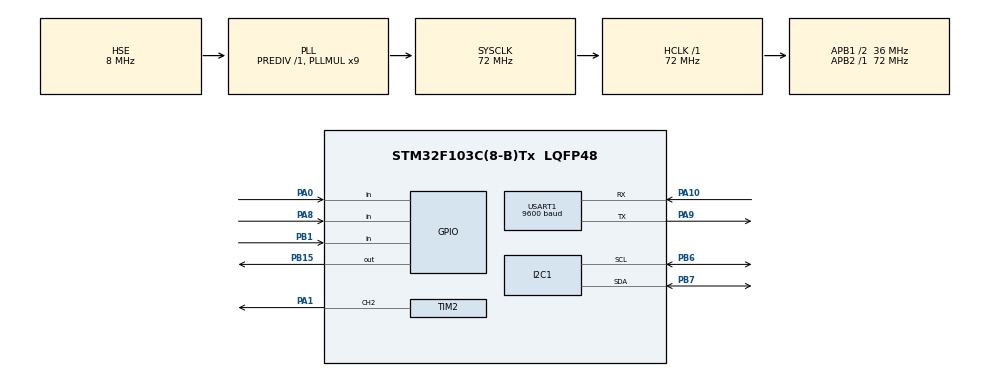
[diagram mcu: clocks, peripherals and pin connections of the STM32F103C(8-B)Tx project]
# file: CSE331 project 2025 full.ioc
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I2C1.I2C_Mode=I2C_Fast
Mcu.Family=STM32F1
Mcu.Name=STM32F103C(8-B)Tx
Mcu.Package=LQFP48
NVIC.PriorityGroup=NVIC_PRIORITYGROUP_4
PA0-WKUP.Signal=GPIO_Input
PA1.Signal=S_TIM2_CH2
PA10.Mode=Asynchronous
PA10.Signal=USART1_RX
PA13.Mode=Serial_Wire
PA13.Signal=SYS_JTMS-SWDIO
PA14.Mode=Serial_Wire
PA14.Signal=SYS_JTCK-SWCLK
PA8.Signal=GPIO_Input
PA9.Mode=Asynchronous
PA9.Signal=USART1_TX
PB1.Signal=GPIO_Input
PB15.Signal=GPIO_Output
PB6.Mode=I2C
PB6.Signal=I2C1_SCL
PB7.Mode=I2C
PB7.Signal=I2C1_SDA
PD0-OSC_IN.Mode=HSE-External-Oscillator
PD0-OSC_IN.Signal=RCC_OSC_IN
PD1-OSC_OUT.Mode=HSE-External-Oscillator
PD1-OSC_OUT.Signal=RCC_OSC_OUT
ProjectManager.HeapSize=0x200
ProjectManager.StackSize=0x400
ProjectManager.TargetToolchain=STM32CubeIDE
RCC.AHBFreq_Value=72000000
RCC.APB1CLKDivider=RCC_HCLK_DIV2
RCC.APB1Freq_Value=36000000
RCC.APB1TimFreq_Value=72000000
RCC.APB2Freq_Value=72000000
RCC.APB2TimFreq_Value=72000000
RCC.HCLKFreq_Value=72000000
RCC.PLLMUL=RCC_PLL_MUL9
RCC.PLLSourceVirtual=RCC_PLLSOURCE_HSE
RCC.SYSCLKFreq_VALUE=72000000
RCC.SYSCLKSource=RCC_SYSCLKSOURCE_PLLCLK
RCC.USBFreq_Value=72000000
SH.S_TIM2_CH2.0=TIM2_CH2,PWM Generation2 CH2
TIM1.Prescaler=71
TIM2.Channel-PWM\ Generation2\ CH2=TIM_CHANNEL_2
TIM2.Period=9999
TIM2.Prescaler=15
USART1.BaudRate=9600
USART1.VirtualMode=VM_ASYNC
VP_TIM1_VS_ClockSourceINT.Mode=Internal
VP_TIM2_VS_ClockSourceINT.Mode=Internal
board=custom

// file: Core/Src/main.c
/* USER CODE BEGIN Header */
/**
  ******************************************************************************
  * @file           : main.c
  * @brief          : Main program body
  ******************************************************************************
  * @attention
  *
  * Copyright (c) 2025 STMicroelectronics.
  * All rights reserved.
  *
  * This software is licensed under terms that can be found in the LICENSE file
  * in the root directory of this software component.
  * If no LICENSE file comes with this software, it is provided AS-IS.
  *
  ******************************************************************************
  */
/* USER CODE END Header */
#include "main.h"

/* USER CODE BEGIN Includes */
#include "fonts.h"
#include "ssd1306.h"
#include "stdio.h"
/* USER CODE END Includes */

I2C_HandleTypeDef hi2c1;

TIM_HandleTypeDef htim1;
TIM_HandleTypeDef htim2;

UART_HandleTypeDef huart1;

/* USER CODE BEGIN PV */
#define TRIG_PIN GPIO_PIN_15
#define TRIG_PORT GPIOB
#define ECHO_PIN GPIO_PIN_8
#define ECHO_PORT GPIOA
//uint16_t pulse;
//uint8_t angle
uint32_t pMillis;
uint32_t Value1 = 0;
uint32_t Value2 = 0;
uint16_t Distance  = 0;  // cm
char strCopy[15];
uint16_t readValue;
/* USER CODE END PV */

void SystemClock_Config(void);
static void MX_GPIO_Init(void);
static void MX_I2C1_Init(void);
static void MX_TIM1_Init(void);
static void MX_TIM2_Init(void);
static void MX_USART1_UART_Init(void);

/* USER CODE BEGIN 0 */
uint8_t charToTransmit[1];
#define DHT11_PORT GPIOB
#define DHT11_PIN GPIO_PIN_12
uint8_t RHI, RHD, TCI, TCD, SUM;
uint32_t pMillis, cMillis;
float tCelsius = 0;
float tFahrenheit = 0;
float RH = 0;
int row=0;
int col=0;
uint8_t TFI = 0;
uint8_t TFD = 0;
char strCopy1[40];
char strCopy2[40];

void microDelay (uint16_t delay)
{
  __HAL_TIM_SET_COUNTER(&htim1, 0);
  while (__HAL_TIM_GET_COUNTER(&htim1) < delay);
}

uint8_t DHT11_Start (void)
{
  uint8_t Response = 0;
  GPIO_InitTypeDef GPIO_InitStructPrivate = {0};
  GPIO_InitStructPrivate.Pin = DHT11_PIN;
  GPIO_InitStructPrivate.Mode = GPIO_MODE_OUTPUT_PP;
  GPIO_InitStructPrivate.Speed = GPIO_SPEED_FREQ_LOW;
  GPIO_InitStructPrivate.Pull = GPIO_NOPULL;
  HAL_GPIO_Init(DHT11_PORT, &GPIO_InitStructPrivate); // set the pin as output
  HAL_GPIO_WritePin (DHT11_PORT, DHT11_PIN, 0);   // pull the pin low
  HAL_Delay(20);   // wait for 20ms
  HAL_GPIO_WritePin (DHT11_PORT, DHT11_PIN, 1);   // pull the pin high
  microDelay (30);   // wait for 30us
  GPIO_InitStructPrivate.Mode = GPIO_MODE_INPUT;
  GPIO_InitStructPrivate.Pull = GPIO_PULLUP;
  HAL_GPIO_Init(DHT11_PORT, &GPIO_InitStructPrivate); // set the pin as input
  microDelay (40);
  if (!(HAL_GPIO_ReadPin (DHT11_PORT, DHT11_PIN)))
  {
    microDelay (80);
    if ((HAL_GPIO_ReadPin (DHT11_PORT, DHT11_PIN))) Response = 1;
  }
  pMillis = HAL_GetTick();
  cMillis = HAL_GetTick();
  while ((HAL_GPIO_ReadPin (DHT11_PORT, DHT11_PIN)) && pMillis + 2 > cMillis)
  {
    cMillis = HAL_GetTick();
  }
  return Response;
}

uint8_t DHT11_Read (void)
{
  uint8_t a,b;
  for (a=0;a<8;a++)
  {
    pMillis = HAL_GetTick();
    cMillis = HAL_GetTick();
    while (!(HAL_GPIO_ReadPin (DHT11_PORT, DHT11_PIN)) && pMillis + 2 > cMillis)
    {  // wait for the pin to go high
      cMillis = HAL_GetTick();
    }
    microDelay (40);   // wait for 40 us
    if (!(HAL_GPIO_ReadPin (DHT11_PORT, DHT11_PIN)))   // if the pin is low
      b&= ~(1<<(7-a));
    else
      b|= (1<<(7-a));
    pMillis = HAL_GetTick();
    cMillis = HAL_GetTick();
    while ((HAL_GPIO_ReadPin (DHT11_PORT, DHT11_PIN)) && pMillis + 2 > cMillis)
    {  // wait for the pin to go low
      cMillis = HAL_GetTick();
    }
  }
  return b;
}
/* USER CODE END 0 */

int main(void)
{

  /* MCU Configuration--------------------------------------------------------*/

  /* Reset of all peripherals, Initializes the Flash interface and the Systick. */
  HAL_Init();

  /* Configure the system clock */
  SystemClock_Config();

  /* Initialize all configured peripherals */
  MX_GPIO_Init();
  MX_I2C1_Init();
  MX_TIM1_Init();
  MX_TIM2_Init();
  MX_USART1_UART_Init();
  /* USER CODE BEGIN 2 */
  HAL_TIM_Base_Start(&htim1);
  HAL_TIM_PWM_Start(&htim2, TIM_CHANNEL_2);  // Start PWM for Servo
  //uint8_t doorState = 0;
   HAL_GPIO_WritePin(TRIG_PORT, TRIG_PIN, GPIO_PIN_RESET);  // pull the TRIG pin low
   SSD1306_Init();

   SSD1306_GotoXY (0, 0);
     SSD1306_Puts("Welcome", &Font_11x18, 1);
     SSD1306_GotoXY (0, 30);
     SSD1306_Puts("to CSE331", &Font_11x18, 1);
     SSD1306_UpdateScreen();
     HAL_Delay(2000);
     SSD1306_Clear();
     HAL_TIM_PWM_Start(&htim2, TIM_CHANNEL_2);  // Start PWM for Servo
  /* USER CODE END 2 */

  /* Infinite loop */
  while (1)
  {
	  if(DHT11_Start())
	  	  	  	      {
	  	  	  	        RHI = DHT11_Read(); // Relative humidity integral
	  	  	  	        RHD = DHT11_Read(); // Relative humidity decimal
	  	  	  	        TCI = DHT11_Read(); // Celsius integral
	  	  	  	        TCD = DHT11_Read(); // Celsius decimal
	  	  	  	        SUM = DHT11_Read(); // Check sum
	  	  	  	        if (RHI + RHD + TCI + TCD == SUM)
	  	  	  	        {

	  	  	  	          tCelsius = (float)TCI + (float)(TCD/10.0);
	  	  	  	          tFahrenheit = tCelsius * 9/5 + 32;
	  	  	  	          RH = (float)RHI + (float)(RHD/10.0);

	  	  	  	          SSD1306_Clear();

	  	  	  	                  sprintf(strCopy1,"Temp: %d.%d C", TCI, TCD);
	  	  	  	                  SSD1306_GotoXY(0, 0);
	  	  	  	                  SSD1306_Puts(strCopy1, &Font_7x10, 1);

	  	  	  	                  sprintf(strCopy2,"Humidity: %d.%d %%", RHI, RHD);
	  	  	  	                  SSD1306_GotoXY(0, 20);
	  	  	  	                  SSD1306_Puts(strCopy2, &Font_7x10, 1);

	  	  	  	                  SSD1306_UpdateScreen();

	  	  	  	        }

	  	  	  	      }
	  	  	  	     // HAL_Delay(50);
	  	  	  //Ultrasonic

	  	  	  HAL_GPIO_WritePin(TRIG_PORT, TRIG_PIN, GPIO_PIN_SET);  // pull the TRIG pin HIGH
	  	  	      __HAL_TIM_SET_COUNTER(&htim1, 0);
	  	  	      while (__HAL_TIM_GET_COUNTER (&htim1) < 10);  // wait for 10 us
	  	  	      HAL_GPIO_WritePin(TRIG_PORT, TRIG_PIN, GPIO_PIN_RESET);  // pull the TRIG pin low

	  	  	      pMillis = HAL_GetTick(); // used this to avoid infinite while loop  (for timeout)
	  	  	      // wait for the echo pin to go high
	  	  	      while (!(HAL_GPIO_ReadPin (ECHO_PORT, ECHO_PIN)) && pMillis + 10 >  HAL_GetTick());
	  	  	      Value1 = __HAL_TIM_GET_COUNTER (&htim1);

	  	  	      pMillis = HAL_GetTick(); // used this to avoid infinite while loop (for timeout)
	  	  	      // wait for the echo pin to go low
	  	  	      while ((HAL_GPIO_ReadPin (ECHO_PORT, ECHO_PIN)) && pMillis + 50 > HAL_GetTick());
	  	  	      Value2 = __HAL_TIM_GET_COUNTER (&htim1);

	  	  	      Distance = (Value2-Value1)* 0.034/2;

	  	  	      SSD1306_GotoXY (0, 40);
	  	  	      SSD1306_Puts ("Distance:", &Font_7x10, 1);
	  	  	      sprintf(strCopy,"%d    ", Distance);
	  	  	      SSD1306_GotoXY (63, 40);
	  	  	      SSD1306_Puts (strCopy, &Font_7x10, 1);
	  	  	      SSD1306_UpdateScreen();

	  	  	      //servo motor and IR

	  	  	      if (HAL_GPIO_ReadPin(GPIOA, GPIO_PIN_0) == GPIO_PIN_RESET) // Active LOW: Presence detected
	  	  	  	      {
	  	  	  	          // Open door
	  	  	  	          __HAL_TIM_SET_COMPARE(&htim2, TIM_CHANNEL_2, 2500);

	  	  	  	       	  	          SSD1306_GotoXY(0, 50);
	  	  	  	       	  	          SSD1306_Puts("Door Open", &Font_7x10, 1);
	  	  	  	       	  	          SSD1306_UpdateScreen();
	  	  	  	       	  	          HAL_Delay(500);

	  	  	  	      }
	  	  	  	      else
	  	  	  	      {
	  	  	  	          // Close door
	  	  	  	          __HAL_TIM_SET_COMPARE(&htim2, TIM_CHANNEL_2, 1500);

	  	  	  	       	  	          SSD1306_GotoXY(0, 50);
	  	  	  	       	  	          SSD1306_Puts("Door Closed", &Font_7x10, 1);
	  	  	  	       	  	          SSD1306_UpdateScreen();
	  	  	  	       	  	          HAL_Delay(500);

	  	  	  	      }

	  	  	      //UART1

	  	  	      if(HAL_GPIO_ReadPin(GPIOB, GPIO_PIN_1) == GPIO_PIN_RESET)
	  	  	     	      {
	  	  	     	        charToTransmit[0] = 48; // 48 is ascii character for zero
	  	  	     	      }
	  	  	     	      else
	  	  	     	      {
	  	  	     	        charToTransmit[0] = 49; // 49 is ascii character for one
	  	  	     	      }
	  	  	     	      HAL_UART_Transmit(&huart1, charToTransmit, 1, 100);
  }
}

void SystemClock_Config(void)
{
  RCC_OscInitTypeDef RCC_OscInitStruct = {0};
  RCC_ClkInitTypeDef RCC_ClkInitStruct = {0};

  /** Initializes the RCC Oscillators according to the specified parameters
  * in the RCC_OscInitTypeDef structure.
  */
  RCC_OscInitStruct.OscillatorType = RCC_OSCILLATORTYPE_HSE;
  RCC_OscInitStruct.HSEState = RCC_HSE_ON;
  RCC_OscInitStruct.HSEPredivValue = RCC_HSE_PREDIV_DIV1;
  RCC_OscInitStruct.HSIState = RCC_HSI_ON;
  RCC_OscInitStruct.PLL.PLLState = RCC_PLL_ON;
  RCC_OscInitStruct.PLL.PLLSource = RCC_PLLSOURCE_HSE;
  RCC_OscInitStruct.PLL.PLLMUL = RCC_PLL_MUL9;
  if (HAL_RCC_OscConfig(&RCC_OscInitStruct) != HAL_OK)
  {
    Error_Handler();
  }

  /** Initializes the CPU, AHB and APB buses clocks
  */
  RCC_ClkInitStruct.ClockType = RCC_CLOCKTYPE_HCLK|RCC_CLOCKTYPE_SYSCLK
                              |RCC_CLOCKTYPE_PCLK1|RCC_CLOCKTYPE_PCLK2;
  RCC_ClkInitStruct.SYSCLKSource = RCC_SYSCLKSOURCE_PLLCLK;
  RCC_ClkInitStruct.AHBCLKDivider = RCC_SYSCLK_DIV1;
  RCC_ClkInitStruct.APB1CLKDivider = RCC_HCLK_DIV2;
  RCC_ClkInitStruct.APB2CLKDivider = RCC_HCLK_DIV1;

  if (HAL_RCC_ClockConfig(&RCC_ClkInitStruct, FLASH_LATENCY_2) != HAL_OK)
  {
    Error_Handler();
  }
}

static void MX_I2C1_Init(void)
{

  hi2c1.Instance = I2C1;
  hi2c1.Init.ClockSpeed = 400000;
  hi2c1.Init.DutyCycle = I2C_DUTYCYCLE_2;
  hi2c1.Init.OwnAddress1 = 0;
  hi2c1.Init.AddressingMode = I2C_ADDRESSINGMODE_7BIT;
  hi2c1.Init.DualAddressMode = I2C_DUALADDRESS_DISABLE;
  hi2c1.Init.OwnAddress2 = 0;
  hi2c1.Init.GeneralCallMode = I2C_GENERALCALL_DISABLE;
  hi2c1.Init.NoStretchMode = I2C_NOSTRETCH_DISABLE;
  if (HAL_I2C_Init(&hi2c1) != HAL_OK)
  {
    Error_Handler();
  }

}

static void MX_TIM1_Init(void)
{

  TIM_ClockConfigTypeDef sClockSourceConfig = {0};
  TIM_MasterConfigTypeDef sMasterConfig = {0};

  htim1.Instance = TIM1;
  htim1.Init.Prescaler = 71;
  htim1.Init.CounterMode = TIM_COUNTERMODE_UP;
  htim1.Init.Period = 65535;
  htim1.Init.ClockDivision = TIM_CLOCKDIVISION_DIV1;
  htim1.Init.RepetitionCounter = 0;
  htim1.Init.AutoReloadPreload = TIM_AUTORELOAD_PRELOAD_DISABLE;
  if (HAL_TIM_Base_Init(&htim1) != HAL_OK)
  {
    Error_Handler();
  }
  sClockSourceConfig.ClockSource = TIM_CLOCKSOURCE_INTERNAL;
  if (HAL_TIM_ConfigClockSource(&htim1, &sClockSourceConfig) != HAL_OK)
  {
    Error_Handler();
  }
  sMasterConfig.MasterOutputTrigger = TIM_TRGO_RESET;
  sMasterConfig.MasterSlaveMode = TIM_MASTERSLAVEMODE_DISABLE;
  if (HAL_TIMEx_MasterConfigSynchronization(&htim1, &sMasterConfig) != HAL_OK)
  {
    Error_Handler();
  }

}

static void MX_TIM2_Init(void)
{

  TIM_ClockConfigTypeDef sClockSourceConfig = {0};
  TIM_MasterConfigTypeDef sMasterConfig = {0};
  TIM_OC_InitTypeDef sConfigOC = {0};

  htim2.Instance = TIM2;
  htim2.Init.Prescaler = 71;
  htim2.Init.CounterMode = TIM_COUNTERMODE_UP;
  htim2.Init.Period = 9999;
  htim2.Init.ClockDivision = TIM_CLOCKDIVISION_DIV1;
  htim2.Init.AutoReloadPreload = TIM_AUTORELOAD_PRELOAD_DISABLE;
  if (HAL_TIM_Base_Init(&htim2) != HAL_OK)
  {
    Error_Handler();
  }
  sClockSourceConfig.ClockSource = TIM_CLOCKSOURCE_INTERNAL;
  if (HAL_TIM_ConfigClockSource(&htim2, &sClockSourceConfig) != HAL_OK)
  {
    Error_Handler();
  }
  if (HAL_TIM_PWM_Init(&htim2) != HAL_OK)
  {
    Error_Handler();
  }
  sMasterConfig.MasterOutputTrigger = TIM_TRGO_RESET;
  sMasterConfig.MasterSlaveMode = TIM_MASTERSLAVEMODE_DISABLE;
  if (HAL_TIMEx_MasterConfigSynchronization(&htim2, &sMasterConfig) != HAL_OK)
  {
    Error_Handler();
  }
  sConfigOC.OCMode = TIM_OCMODE_PWM1;
  sConfigOC.Pulse = 0;
  sConfigOC.OCPolarity = TIM_OCPOLARITY_HIGH;
  sConfigOC.OCFastMode = TIM_OCFAST_DISABLE;
  if (HAL_TIM_PWM_ConfigChannel(&htim2, &sConfigOC, TIM_CHANNEL_2) != HAL_OK)
  {
    Error_Handler();
  }
  HAL_TIM_MspPostInit(&htim2);

}

static void MX_USART1_UART_Init(void)
{

  huart1.Instance = USART1;
  huart1.Init.BaudRate = 9600;
  huart1.Init.WordLength = UART_WORDLENGTH_8B;
  huart1.Init.StopBits = UART_STOPBITS_1;
  huart1.Init.Parity = UART_PARITY_NONE;
  huart1.Init.Mode = UART_MODE_TX_RX;
  huart1.Init.HwFlowCtl = UART_HWCONTROL_NONE;
  huart1.Init.OverSampling = UART_OVERSAMPLING_16;
  if (HAL_UART_Init(&huart1) != HAL_OK)
  {
    Error_Handler();
  }

}

static void MX_GPIO_Init(void)
{
  GPIO_InitTypeDef GPIO_InitStruct = {0};

  /* GPIO Ports Clock Enable */
  __HAL_RCC_GPIOD_CLK_ENABLE();
  __HAL_RCC_GPIOA_CLK_ENABLE();
  __HAL_RCC_GPIOB_CLK_ENABLE();

  /*Configure GPIO pin Output Level */
  HAL_GPIO_WritePin(GPIOB, GPIO_PIN_15, GPIO_PIN_RESET);

  /*Configure GPIO pins : PA0 PA8 */
  GPIO_InitStruct.Pin = GPIO_PIN_0|GPIO_PIN_8;
  GPIO_InitStruct.Mode = GPIO_MODE_INPUT;
  GPIO_InitStruct.Pull = GPIO_NOPULL;
  HAL_GPIO_Init(GPIOA, &GPIO_InitStruct);

  /*Configure GPIO pin : PB1 */
  GPIO_InitStruct.Pin = GPIO_PIN_1;
  GPIO_InitStruct.Mode = GPIO_MODE_INPUT;
  GPIO_InitStruct.Pull = GPIO_NOPULL;
  HAL_GPIO_Init(GPIOB, &GPIO_InitStruct);

  /*Configure GPIO pin : PB15 */
  GPIO_InitStruct.Pin = GPIO_PIN_15;
  GPIO_InitStruct.Mode = GPIO_MODE_OUTPUT_PP;
  GPIO_InitStruct.Pull = GPIO_NOPULL;
  GPIO_InitStruct.Speed = GPIO_SPEED_FREQ_LOW;
  HAL_GPIO_Init(GPIOB, &GPIO_InitStruct);

}

/* USER CODE BEGIN 4 */
/*void Servo_Set_Angle(uint8_t angle)
{

	uint16_t pulse = (angle * 2000 / 180) + 500;

	HAL_TIM SET_COMPARE(&htim2, TIM_CHANNEL_2, pulse);

}*/

/* USER CODE END 4 */

void Error_Handler(void)
{
  __disable_irq();
  while (1)
  {
  }
}
